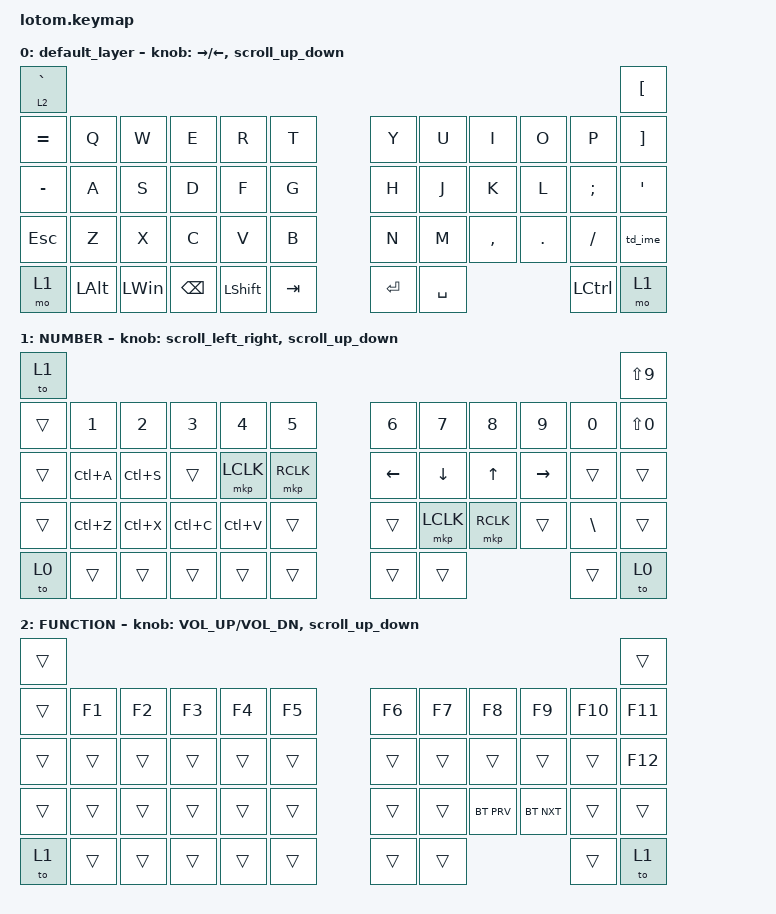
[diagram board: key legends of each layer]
#include <behaviors.dtsi>
#include <dt-bindings/zmk/bt.h>
#include <dt-bindings/zmk/keys.h>
#include <dt-bindings/zmk/pointing.h>

#define ZMK_POINTING_DEFAULT_SCRL_VAL 80

/ {
    behaviors {
      scroll_up_down: behavior_sensor_rotate_mouse_wheel_up_down {
          compatible = "zmk,behavior-sensor-rotate";
          label = "ENCODER_MSC_DOWN_UP";
          #sensor-binding-cells = <0>;
          bindings = <&msc SCRL_DOWN>, <&msc SCRL_UP>;
          tap-ms = <20>;
      };

      scroll_left_right: behavior_sensor_rotate_mouse_wheel_left_right {
          compatible = "zmk,behavior-sensor-rotate";
          label = "ENCODER_MSC_LEFT_RIGHT";
          #sensor-binding-cells = <0>;
          bindings = <&msc SCRL_RIGHT>, <&msc SCRL_LEFT>;
          tap-ms = <20>;
      };

      tab_slide: behavior_sensor_rotate_tab_slide {
          compatible = "zmk,behavior-sensor-rotate";
          label = "ENCODER_TAB_SLIDE";
          #sensor-binding-cells = <0>;
          bindings = <&kp LA(LG(RIGHT_ARROW))>, <&kp LA(LG(LEFT_ARROW))>;
          tap-ms = <20>;
      };

      td_ime: behavior_tap_dance_ime {
          compatible = "zmk,behavior-tap-dance";
          label = "TD_IME";
          #binding-cells = <0>;
          tapping-term-ms = <200>;
          bindings = <&kp F15>, <&kp F14>;
      };
    };

    keymap {
        compatible = "zmk,keymap";

        default_layer {
            bindings = <
&lt 2 GRAVE                                                                                                                                              &kp LEFT_BRACKET
&kp EQUAL   &kp Q         &kp W             &kp E     &kp R           &kp T                      &kp Y      &kp U     &kp I     &kp O     &kp P          &kp RIGHT_BRACKET
&kp MINUS   &kp A         &kp S             &kp D     &kp F           &kp G                      &kp H      &kp J     &kp K     &kp L     &kp SEMICOLON  &kp SQT
&kp ESCAPE  &kp Z         &kp X             &kp C     &kp V           &kp B                      &kp N      &kp M     &kp COMMA &kp DOT   &kp SLASH      &td_ime
&mo 1       &kp LEFT_ALT  &kp LEFT_WIN      &kp BSPC  &kp LEFT_SHIFT  &kp TAB                    &kp ENTER  &kp SPACE                     &kp LCTRL      &mo 1
            >;

            sensor-bindings = <
                &inc_dec_kp RIGHT_ARROW LEFT_ARROW
                &scroll_up_down
            >;
        };

        NUMBER {
            bindings = <
&to  1                                                                                                                                                 &kp LS(N9)
&trans  &kp N1     &kp N2     &kp N3     &kp N4     &kp N5                    &kp N6          &kp N7          &kp N8        &kp N9           &kp N0    &kp LS(N0)
&trans  &kp LC(A)  &kp LC(S)  &trans     &mkp LCLK  &mkp RCLK                 &kp LEFT_ARROW  &kp DOWN_ARROW  &kp UP_ARROW  &kp RIGHT_ARROW  &trans    &trans
&trans  &kp LC(Z)  &kp LC(X)  &kp LC(C)  &kp LC(V)  &trans                    &trans          &mkp LCLK       &mkp RCLK     &trans           &kp BSLH  &trans
&to 0   &trans     &trans     &trans     &trans     &trans                    &trans          &trans                                         &trans    &to 0
            >;

            sensor-bindings = <
                &scroll_left_right
                &scroll_up_down
            >;
        };

        FUNCTION {
            bindings = <
&trans                                                                                               &trans
&trans  &kp F1  &kp F2  &kp F3  &kp F4  &kp F5      &kp F6  &kp F7  &kp F8      &kp F9      &kp F10  &kp F11
&trans  &trans  &trans  &trans  &trans  &trans      &trans  &trans  &trans      &trans      &trans   &kp F12
&trans  &trans  &trans  &trans  &trans  &trans      &trans  &trans  &bt BT_PRV  &bt BT_NXT  &trans   &trans
&to 1   &trans  &trans  &trans  &trans  &trans      &trans  &trans                          &trans   &to 1
            >;

            sensor-bindings = <
                &inc_dec_kp C_VOL_UP C_VOL_DN
                &scroll_up_down
            >;
        };
    };
};
